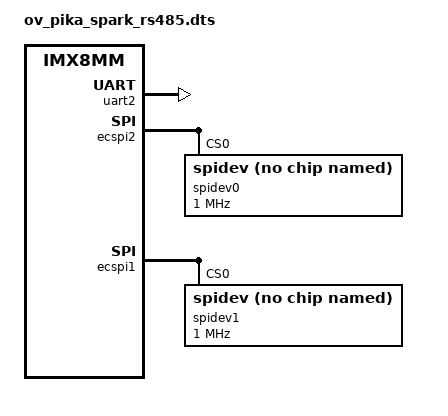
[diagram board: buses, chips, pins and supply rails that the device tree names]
/**
 * Portenta-X8 dtb overlay file
 * Arduino 2023
 * Enable RS-485 on Pika-Spark carrier board and more
 */

/dts-v1/;
/plugin/;

#include <dt-bindings/clock/imx8mm-clock.h>
#include "imx8mm-pinfunc.h"

/* @TODO they shall be introduced in recent bsps from nxp */
/* NOTE: DCE mode not inverted */
#define MX8MM_IOMUXC_SAI3_TXFS_UART2_DCE_RX     0x1D8 0x440 0x4Fc 0x4 0x2
#define MX8MM_IOMUXC_SAI3_TXC_UART2_DCE_TX      0x1DC 0x444 0x000 0x4 0x0
#define MX8MM_IOMUXC_SAI3_RXC_UART2_DCE_CTS_B   0x1D0 0x438 0x000 0x4 0x0
#define MX8MM_IOMUXC_SAI3_RXD_UART2_DCE_RTS_B   0x1D4 0x43C 0x4F8 0x4 0x3

/ {
	compatible = "fsl,imx8mm-evk", "fsl,imx8mm";

	/* Pins mux and pad configuration */
	fragment@0 {
		target = <&iomuxc>;
		__overlay__ {
			pinctrl-0 = <&pinctrl_hog>;
			imx8mm {
				/* Pins connected to hw managed in user space configured as input pull down */
				pinctrl_hog: hoggrp {
					fsl,pins = <
						MX8MM_IOMUXC_SPDIF_TX_GPIO5_IO3			0x110 /* J1 74 nBNO085_IRQ */
						MX8MM_IOMUXC_SAI5_RXD2_GPIO3_IO23		0x110 /* J1 56 BNO085_BOOTN */
						MX8MM_IOMUXC_SAI5_RXD1_GPIO3_IO22		0x110 /* J1 58 BNO085_nRST */
						MX8MM_IOMUXC_SPDIF_RX_GPIO5_IO4			0x110 /* J1 76 NCN26010_nIRQ */
						MX8MM_IOMUXC_SAI5_RXD0_GPIO3_IO21		0x110 /* J1 60 NCN26010_nRST */
					>;
				};

				/* Pins RS-485 */
				pinctrl_uart2: uart2grp {
					fsl,pins = <
						MX8MM_IOMUXC_SAI3_TXFS_UART2_DCE_RX		0x140
						MX8MM_IOMUXC_SAI3_TXC_UART2_DCE_TX		0x140
						MX8MM_IOMUXC_SAI3_RXC_UART2_DCE_CTS_B	0x140
						MX8MM_IOMUXC_SAI3_RXD_UART2_DCE_RTS_B	0x140
					>;
				};
			};
		};
	};

	/* RS-485 */
	fragment@1 {
		target = <&uart2>;
		__overlay__ {
			pinctrl-names = "default";
			pinctrl-0 = <&pinctrl_uart2>;
			assigned-clocks = <&clk IMX8MM_CLK_UART2>;
			assigned-clock-parents = <&clk IMX8MM_SYS_PLL1_80M>;
			linux,rs485-enabled-at-boot-time;
			/*rs485-rx-during-tx;*/
			rs485-rts-active-high;
			fsl,uart-has-rtscts;
			status = "okay";
		};
	};

	/* SPI0 */
	fragment@2 {
		target = <&ecspi2>;
		__overlay__ {
			spidev0: spidev@0 {
				compatible = "rohm,dh2228fv";
				spi-max-frequency = <1000000>;
				reg = <0>;
			};
		};
	};

	/* SPI1 */
	fragment@3 {
		target = <&ecspi1>;
		__overlay__ {
			spidev1: spidev@0 {
				compatible = "rohm,dh2228fv";
				spi-max-frequency = <1000000>;
				reg = <0>;
			};
		};
	};
};
